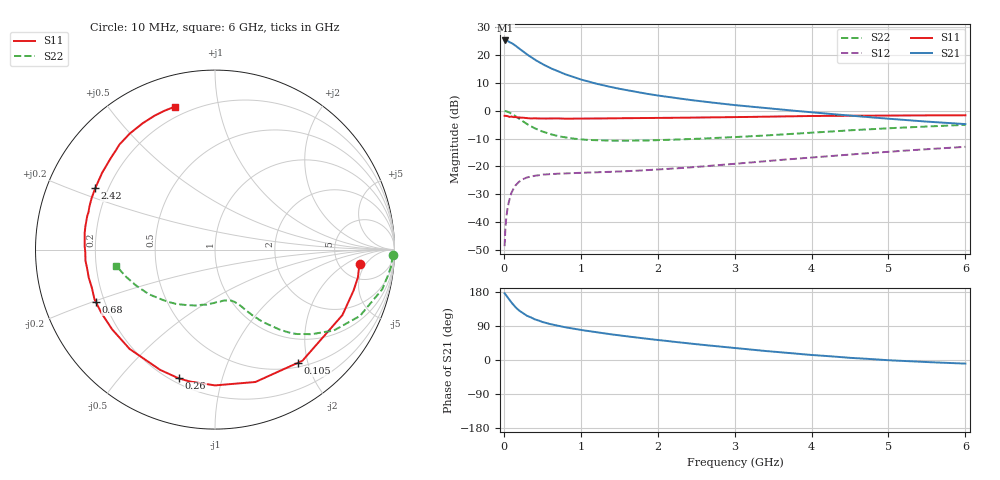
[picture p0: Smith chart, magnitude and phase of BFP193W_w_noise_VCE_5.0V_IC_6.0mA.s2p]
! Infineon Technologies  Discrete & RF Semiconductors
! BFP193W
! VCE = 5.0 V,  IC =  6.0 mA
! Common Emitter S-Parameters:  Jan 2016
# GHz  S  MA  R  50
!  f  S11  S21  S12  S22
! GHz  MAG  ANG  MAG  ANG  MAG  ANG  MAG  ANG
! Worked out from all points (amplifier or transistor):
!   210 points, 10 MHz to 6 GHz, reference 50 ohm
!   highest |S21| = 25.2 dB at 20 MHz (marker M1)
!   |S21| within 3 dB of that: start of sweep to 204.5 MHz
!   unconditionally stable (mu >= 1): 1.623 GHz to 4.452 GHz
!   at 185 MHz: K = 0.15, MSG = 24.2 dB, |S12| = -25.9 dB
!   at 1.52 GHz: K = 0.96, MSG = 14.8 dB, |S12| = -21.8 dB
!   at 6 GHz: K = 0.92, MSG = 4.1 dB, |S12| = -13.0 dB
!   lowest NFmin = 1.20 dB at 450 MHz
!   S11 on the Smith chart (normalised r, x): 10 MHz: 7.86, -3.53; 105 MHz: 0.57, -1.83; 260 MHz: 0.23, -0.73; 680 MHz: 0.17, -0.21; 2.42 GHz: 0.15, +0.24; 6 GHz: 0.15, +0.75
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0.01  0.8089 -5.5  18.16 176.1  0.0037 85.1  0.9912 -1.9
0.02  0.8111 -11.0  18.2 173.8  0.0076 82.8  0.9851 -5.5
0.05  0.7981 -27.2  17.76 164.9  0.0183 76.0  0.9578 -13.3
0.1  0.7878 -51.8  16.42 151.4  0.0339 64.6  0.8882 -24.6
0.105  0.7814 -53.8  16.23 150.3  0.035 63.3  0.8784 -25.5
0.15  0.7712 -73.0  14.76 139.5  0.0453 54.8  0.8004 -34.3
0.2  0.7566 -90.0  13.03 130.3  0.0533 47.6  0.7144 -41.3
0.26  0.7453 -105.7  11.28 121.9  0.0599 41.0  0.6288 -47.7
0.3  0.7365 -114.5  10.22 116.8  0.0632 37.6  0.5761 -50.9
0.4  0.7299 -130.7  8.261 107.5  0.0678 31.7  0.4841 -56.5
0.5  0.7252 -142.2  6.871 100.4  0.071 28.4  0.4231 -60.2
0.6  0.7248 -150.7  5.852 94.9  0.0728 26.2  0.3806 -63.0
0.68  0.7251 -156.2  5.26 91.4  0.0737 25.3  0.3564 -64.5
0.8  0.7183 -162.8  4.496 86.3  0.075 24.7  0.3307 -66.9
1.02  0.7205 -172.1  3.572 78.8  0.0769 24.7  0.3039 -71.1
1.4  0.7277 175.8  2.643 67.7  0.0801 26.8  0.2898 -78.1
2.02  0.7398 160.9  1.857 52.4  0.0883 32.8  0.2971 -90.7
2.42  0.7499 152.9  1.557 43.5  0.0958 36.6  0.311 -99.4
3.1  0.7689 140.6  1.222 29.7  0.114 40.9  0.3411 -114.7
4.1  0.8033 124.9  0.909 11.9  0.1486 42.0  0.4089 -137.5
5.1  0.8193 113.4  0.7 -1.5  0.1871 39.3  0.4908 -157.4
6  0.8273 105.6  0.574 -9.5  0.2245 35.4  0.5572 -170.7
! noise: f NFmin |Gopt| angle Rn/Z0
0.45  1.2  0.25  114  0.13
0.9  1.25  0.37  150  0.12
1.8  2  0.55  -158  0.12
